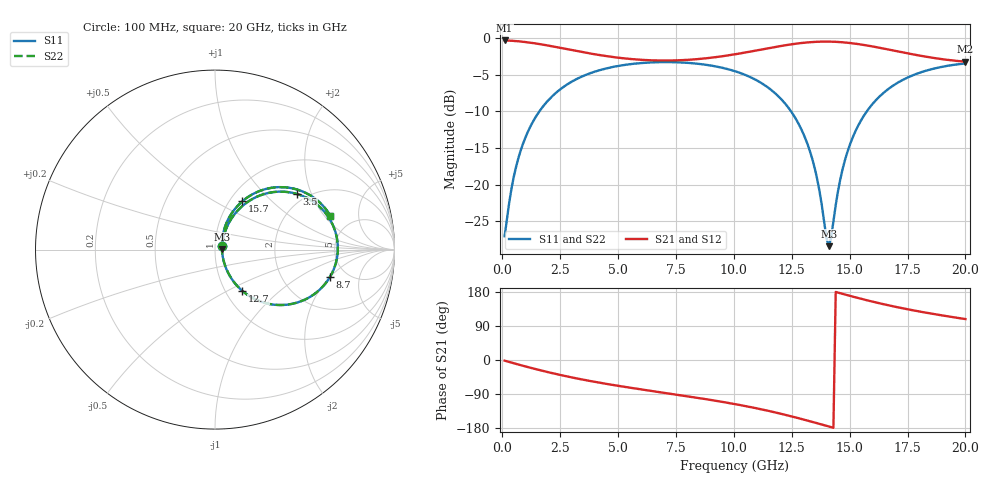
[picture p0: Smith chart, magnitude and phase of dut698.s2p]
! Touchstone file exported from HFSS 2026.1.0
!  File:  C:/ffzhzh/LocalFiles/Ansys_Project_Files/temp_train_TSV_RDL_698_1783136200_53076.aedt
!  Generated:  11:48:07 AM Jul  4, 2026
!  Design:  TSV_RDL
!  Project:  temp_train_TSV_RDL_698_1783136200_53076
! Variables:
!  h_bsmrdl = 4.29um
!  h_ox = 20um
!  h_rdl = 5um
!  h_sub = 89.9um
!  h_tmrdl = 2.8um
!  h_tsv = 89.9um
!  h_via = 3um
!  l_bsmrdl = 107.94um
!  l_sub = 4026.95um
!  l_tmrdl = 808.99um
!  m_sub = 200um
!  pitch = 51.8um
!  r_tsv = 6.17um
!  s_tmrdl = 10um
!  w_bsmrdl = 11um
!  w_sub = 500um
!  w_tmrdl = 11.39um
!  x_tsv_center1 = 814.685um
!  x_tsv_center2 = 933.625um
!  x_tsv_center3 = 1754.005um
!  x_tsv_center4 = 1872.945um
!  x_tsv_center5 = 2693.325um
!  x_tsv_center6 = 2812.265um
# GHz S MA R 50.000000
! Terminal data exported
! Port[1] = TM_RDL1_1_T1
! Port[2] = TM_RDL5_1_T1
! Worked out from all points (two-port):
!   200 points, 100 MHz to 20 GHz, reference 50 ohm
!   highest |S21| = -0.35 dB at 100 MHz (marker M1); lowest = -3.2 dB at 20 GHz (marker M2)
!   |S21| within 3 dB of the highest: start of sweep to end of sweep
!   lowest |S11| = -28.4 dB at 14.1 GHz (marker M3), VSWR 1.08, Z = 54 + j0.241 ohm
!   |S11| at or under -10 dB: start of sweep to 1.603 GHz; 12.47 GHz to 15.74 GHz (3.276 GHz wide, 23.2 % of centre)
!   |S22| runs from -28.3 to -3.3 dB; largest |S21 - S12| = 1.7e-14
!   S11 on the Smith chart (normalised r, x): 100 MHz: 1.08, +0.04; 3.5 GHz: 1.77, +1.58; 8.7 GHz: 3.75, -1.99; 12.7 GHz: 1.20, -0.60; 15.7 GHz: 1.14, +0.68; 20 GHz: 3.40, +2.30
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0.1  0.04462 27.5  0.9608 -1.8  0.9608 -1.8  0.04462 27.5
! Gamma 0 0 0 0
! Port Impedance 50 0 50 0
0.4  0.09472 58.1  0.9564 -7.0  0.9564 -7.0  0.09472 58.1
0.6  0.1335 61.9  0.9512 -10.4  0.9512 -10.4  0.1335 61.9
1.2  0.2468 60.1  0.9283 -20.2  0.9283 -20.2  0.2468 60.1
2.2  0.4067 49.1  0.874 -35.3  0.874 -35.3  0.4067 49.1
3.5  0.5511 34.3  0.7985 -52.0  0.7985 -52.0  0.5511 34.3
5.1  0.6479 18.4  0.7304 -69.1  0.7304 -69.1  0.6479 18.4
6.8  0.6839 3.4  0.7015 -84.9  0.7015 -84.9  0.6839 3.4
8.7  0.6593 -13.1  0.7237 -102.4  0.7237 -102.4  0.6593 -13.1
10.1  0.5898 -26.7  0.7759 -117.0  0.7759 -117.0  0.5898 -26.7
11.6  0.444 -43.6  0.8568 -135.7  0.8568 -135.7  0.444 -43.5
12.7  0.277 -56.4  0.9141 -152.1  0.9141 -152.1  0.277 -56.4
13.4  0.1475 -60.5  0.9375 -163.5  0.9375 -163.5  0.1476 -60.4
13.7  0.0905 -55.4  0.9425 -168.6  0.9425 -168.6  0.09057 -55.3
14  0.04331 -23.5  0.944 -173.7  0.944 -173.7  0.04349 -23.3
14.1  0.0382 3.3  0.9437 -175.4  0.9437 -175.4  0.03842 3.4
14.5  0.09073 61.5  0.9385 177.8  0.9385 177.8  0.09085 61.4
14.8  0.1474 66.5  0.9306 172.8  0.9306 172.8  0.1475 66.5
15.7  0.3091 60.5  0.8909 158.4  0.8909 158.4  0.3092 60.5
16.7  0.4524 48.9  0.8321 144.0  0.8321 144.0  0.4524 48.9
18.1  0.5847 33.7  0.754 127.0  0.754 127.0  0.5847 33.7
20  0.6696 16.2  0.689 108.0  0.689 108.0  0.6697 16.2
